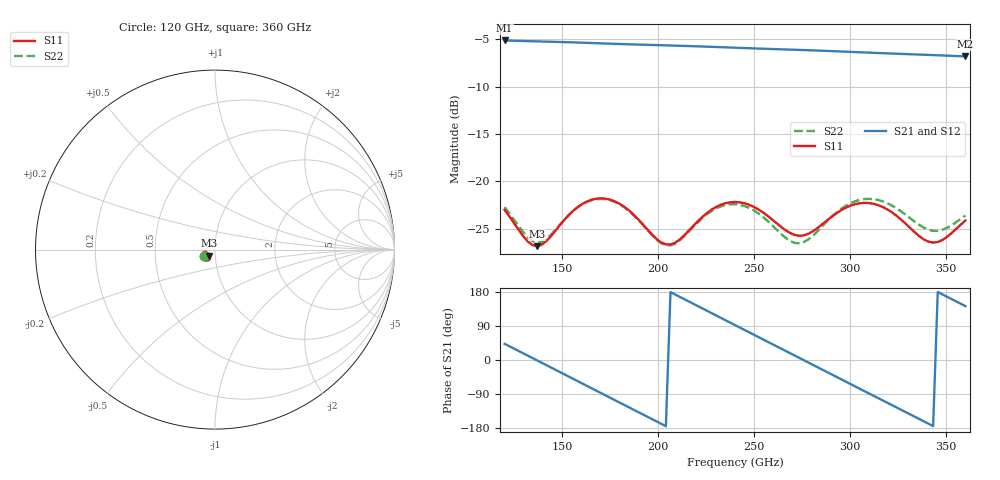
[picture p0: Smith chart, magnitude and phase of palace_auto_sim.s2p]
#  GHZ S DB R 50
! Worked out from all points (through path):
!   101 points, 120 GHz to 360 GHz, reference 50 ohm
!   highest |S21| = -5.11 dB at 120 GHz (marker M1); lowest = -6.8 dB at 360 GHz (marker M2)
!   group delay of S21, straight-line fit = 7.18 ps
!   lowest |S11| = -26.9 dB at 136.8 GHz (marker M3), VSWR 1.10, Z = 46.9 - j3.09 ohm
!   |S11| at or under -10 dB: start of sweep to end of sweep
!   |S22| runs from -26.8 to -21.9 dB; largest |S21 - S12| = 6e-14
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120  -23.01 -148.9  -5.11 42.6  -5.11 42.6  -22.73 -149.1
136.8  -26.86 -133.6  -5.21 -0.7  -5.21 -0.7  -26.49 -136.1
148.8  -24.64 -118.8  -5.27 -31.8  -5.27 -31.8  -24.59 -121.5
160.8  -22.35 -126.6  -5.35 -62.9  -5.35 -62.9  -22.39 -128.4
170.4  -21.80 -138.5  -5.42 -87.8  -5.42 -87.8  -21.85 -139.9
180  -22.39 -150.1  -5.48 -112.6  -5.48 -112.6  -22.44 -151.2
192  -24.55 -157.4  -5.56 -143.6  -5.56 -143.6  -24.61 -158.4
201.6  -26.47 -149.8  -5.62 -168.4  -5.62 -168.4  -26.54 -150.6
218.4  -24.69 -130.0  -5.72 148.0  -5.72 148.0  -24.79 -130.7
230.4  -22.69 -136.2  -5.80 116.9  -5.80 116.9  -22.84 -137.0
240  -22.18 -146.1  -5.88 92.1  -5.88 92.1  -22.41 -147.0
249.6  -22.68 -155.5  -5.95 67.3  -5.95 67.3  -23.05 -156.3
261.6  -24.41 -160.3  -6.03 36.3  -6.03 36.3  -25.10 -160.0
271.2  -25.68 -153.5  -6.09 11.5  -6.09 11.5  -26.52 -149.9
280.8  -25.25 -143.0  -6.16 -13.3  -6.16 -13.3  -25.70 -136.1
290.4  -23.74 -140.7  -6.24 -38.2  -6.24 -38.2  -23.74 -133.6
302.4  -22.42 -148.6  -6.34 -69.2  -6.34 -69.2  -22.12 -142.2
312  -22.37 -157.9  -6.42 -94.0  -6.42 -94.0  -21.88 -151.8
321.6  -23.26 -165.8  -6.49 -118.7  -6.49 -118.7  -22.55 -160.1
340.8  -26.38 -158.9  -6.64 -168.2  -6.64 -168.2  -25.12 -157.6
350.4  -25.88 -145.6  -6.72 167.0  -6.72 167.0  -24.93 -147.9
360  -24.14 -141.9  -6.80 142.3  -6.80 142.3  -23.62 -144.5
